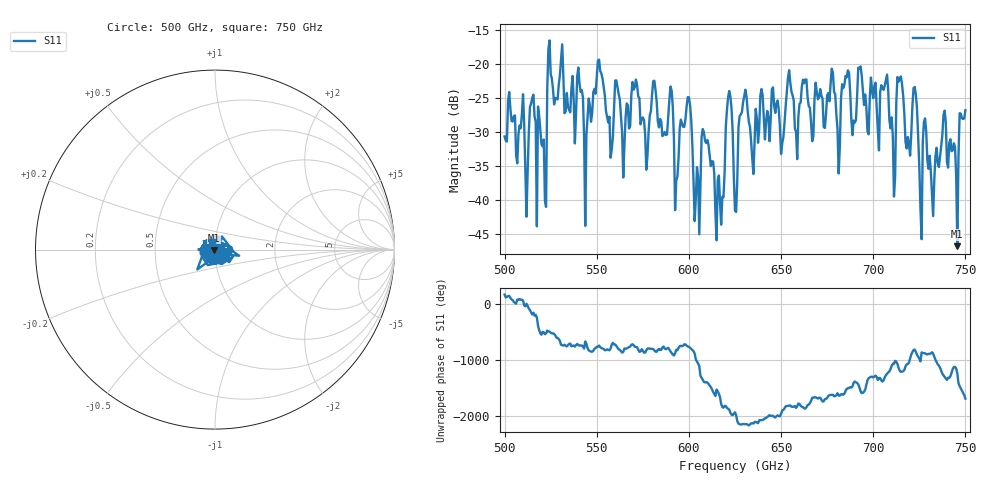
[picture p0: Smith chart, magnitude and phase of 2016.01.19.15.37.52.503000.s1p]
!Created with skrf (http://scikit-rf.org).
# GHz S RI R 50.0
!freq ReS11 ImS11
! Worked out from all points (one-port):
!   401 points, 500 GHz to 750 GHz, reference 50 ohm
!   lowest |S11| = -46.8 dB at 745.6 GHz (marker M1), VSWR 1.01, Z = 49.6 - j0.186 ohm
!   |S11| at or under -10 dB: start of sweep to end of sweep
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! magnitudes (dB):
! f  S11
! 500 GHz  -30.7
! 511.9 GHz  -42.5
! 515 GHz  -25.0
! 521.2 GHz  -31.2
! 524.4 GHz  -16.6
! 531.2 GHz  -17.1
! 543.8 GHz  -43.8
! 551.2 GHz  -19.4
! 562.5 GHz  -25.2
! 590 GHz  -23.3
! 593.8 GHz  -36.6
! 600 GHz  -24.9
! 604.4 GHz  -35.2
! 608.1 GHz  -30.1
! 616.2 GHz  -36.4
! 621.9 GHz  -24.0
! 625 GHz  -41.6
! 630 GHz  -24.8
! 656.2 GHz  -24.6
! 687.5 GHz  -24.3
! 706.9 GHz  -22.4
! 710.6 GHz  -30.7
! 714.4 GHz  -22.1
! 718.8 GHz  -30.8
! 722.5 GHz  -23.4
! 725.6 GHz  -41.3
! 745.6 GHz  -46.8
! 750 GHz  -26.8
